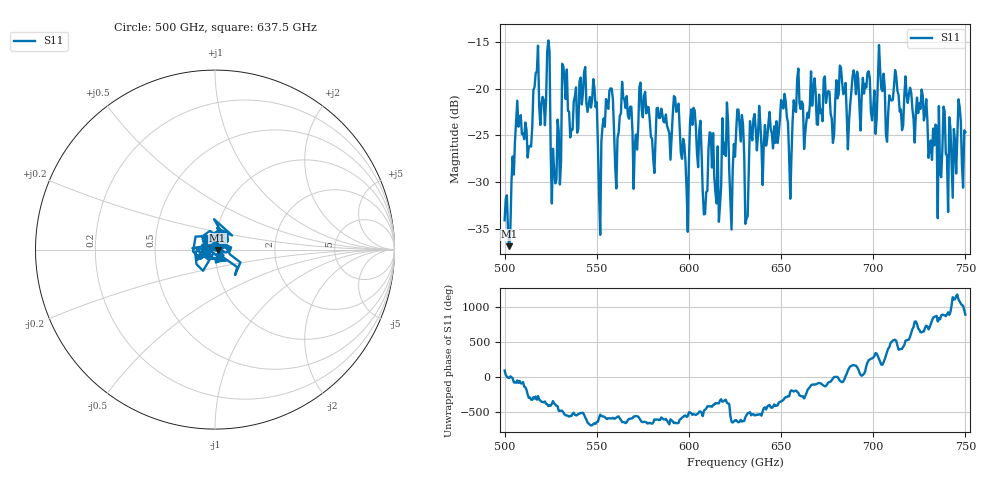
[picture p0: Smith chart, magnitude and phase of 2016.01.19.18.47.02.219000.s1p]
!Created with skrf (http://scikit-rf.org).
# GHz S RI R 50.0
!freq ReS11 ImS11
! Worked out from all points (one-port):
!   401 points, 500 GHz to 750 GHz, reference 50 ohm
!   lowest |S11| = -36.8 dB at 502.5 GHz (marker M1), VSWR 1.03, Z = 51.4 - j0.253 ohm
!   |S11| at or under -10 dB: start of sweep to end of sweep
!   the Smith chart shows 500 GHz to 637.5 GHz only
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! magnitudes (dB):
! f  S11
! 500 GHz  -34.1
! 502.5 GHz  -36.8
! 506.9 GHz  -21.3
! 513.8 GHz  -26.1
! 516.9 GHz  -18.4
! 523.8 GHz  -14.9
! 526.9 GHz  -28.7
! 531.2 GHz  -17.4
! 548.8 GHz  -20.0
! 551.9 GHz  -35.6
! 556.2 GHz  -22.2
! 562.5 GHz  -22.9
! 593.8 GHz  -22.1
! 598.8 GHz  -30.8
! 602.5 GHz  -22.1
! 608.8 GHz  -33.4
! 611.9 GHz  -24.8
! 615.6 GHz  -26.2
! 625 GHz  -27.3
! 628.1 GHz  -25.6
! 631.2 GHz  -33.9
! 634.4 GHz  -25.5
! 656.2 GHz  -23.5
! 658.1 GHz  -22.5
! 687.5 GHz  -21.7
! 718.8 GHz  -21.5
! 736.2 GHz  -29.0
! 750 GHz  -24.7
